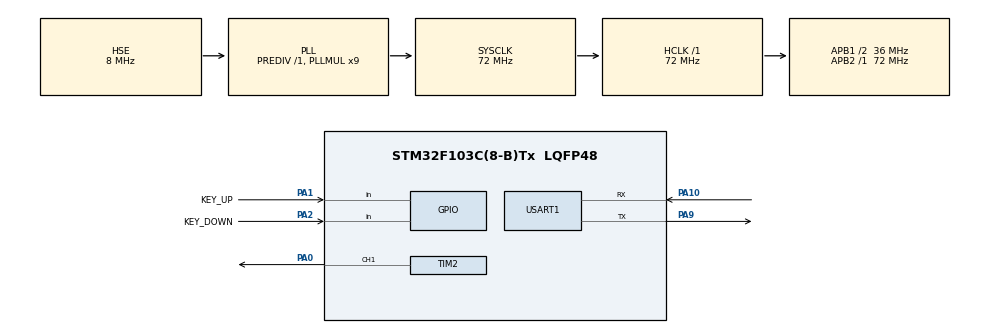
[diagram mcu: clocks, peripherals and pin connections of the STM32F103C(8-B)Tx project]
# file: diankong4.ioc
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Mcu.Family=STM32F1
Mcu.Name=STM32F103C(8-B)Tx
Mcu.Package=LQFP48
NVIC.PriorityGroup=NVIC_PRIORITYGROUP_4
PA0-WKUP.Signal=S_TIM2_CH1_ETR
PA1.GPIO_Label=KEY_UP
PA1.GPIO_PuPd=GPIO_PULLUP
PA1.Signal=GPIO_Input
PA10.Mode=Asynchronous
PA10.Signal=USART1_RX
PA13.Mode=Serial_Wire
PA13.Signal=SYS_JTMS-SWDIO
PA14.Mode=Serial_Wire
PA14.Signal=SYS_JTCK-SWCLK
PA2.GPIO_Label=KEY_DOWN
PA2.GPIO_PuPd=GPIO_PULLUP
PA2.Signal=GPIO_Input
PA9.Mode=Asynchronous
PA9.Signal=USART1_TX
PD0-OSC_IN.Mode=HSE-External-Oscillator
PD0-OSC_IN.Signal=RCC_OSC_IN
PD1-OSC_OUT.Mode=HSE-External-Oscillator
PD1-OSC_OUT.Signal=RCC_OSC_OUT
ProjectManager.HeapSize=0x200
ProjectManager.StackSize=0x400
ProjectManager.TargetToolchain=CMake
RCC.AHBFreq_Value=72000000
RCC.APB1CLKDivider=RCC_HCLK_DIV2
RCC.APB1Freq_Value=36000000
RCC.APB1TimFreq_Value=72000000
RCC.APB2Freq_Value=72000000
RCC.APB2TimFreq_Value=72000000
RCC.HCLKFreq_Value=72000000
RCC.PLLMUL=RCC_PLL_MUL9
RCC.PLLSourceVirtual=RCC_PLLSOURCE_HSE
RCC.SYSCLKFreq_VALUE=72000000
RCC.SYSCLKSource=RCC_SYSCLKSOURCE_PLLCLK
RCC.USBFreq_Value=72000000
SH.S_TIM2_CH1_ETR.0=TIM2_CH1,PWM Generation1 CH1
TIM2.AutoReloadPreload=TIM_AUTORELOAD_PRELOAD_ENABLE
TIM2.Channel-PWM\ Generation1\ CH1=TIM_CHANNEL_1
TIM2.Period=19999
TIM2.Prescaler=71
USART1.VirtualMode=VM_ASYNC
VP_TIM2_VS_ClockSourceINT.Mode=Internal
board=custom

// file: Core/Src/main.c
/* USER CODE BEGIN Header */
/**
  ******************************************************************************
  * @file           : main.c
  * @brief          : Main program body
  ******************************************************************************
  * @attention
  *
  * Copyright (c) 2026 STMicroelectronics.
  * All rights reserved.
  *
  * This software is licensed under terms that can be found in the LICENSE file
  * in the root directory of this software component.
  * If no LICENSE file comes with this software, it is provided AS-IS.
  *
  ******************************************************************************
  */
/* USER CODE END Header */
#include "main.h"

/* USER CODE BEGIN Includes */
#include <stdio.h>
#include "OLED.h"
#include "Servo.h"
#include "Key.h"
/* USER CODE END Includes */

TIM_HandleTypeDef htim2;

UART_HandleTypeDef huart1;

void SystemClock_Config(void);
static void MX_GPIO_Init(void);
static void MX_TIM2_Init(void);
static void MX_USART1_UART_Init(void);

/* USER CODE BEGIN 0 */

/* 作业要求的 5 个定角：0 -> 45 -> 90 -> 135 -> 180 */
static const float SERVO_SEQ[5] = {0.0f, 45.0f, 90.0f, 135.0f, 180.0f};

/**
  * @brief  printf 重定向到 USART1（GCC / newlib 版本）
  *
  * CLion + arm-none-eabi-gcc 用的是 newlib，printf 最终会调用 _write()。
  * CubeMX 在 Core/Src/syscalls.c 里放了一个 __attribute__((weak)) 的 _write，
  * 我们在这里重新定义同名函数，链接器会优先用这个"强符号"，
  * 于是 printf 的内容就顺着 USART1 发出去了。
  *
  * 注意：Keil MDK 那边写的是 fputc / __io_putchar，跟 GCC 不是一回事，照抄会报错。
  */
int _write(int fd, char *ptr, int len)
{
  (void)fd;
  HAL_UART_Transmit(&huart1, (uint8_t *)ptr, (uint16_t)len, 100);
  return len;
}

/* 一次刷新：舵机 + OLED 三行 + 串口。原来 while 里那一大坨，搬到这里 */
static void Servo_Show(float angle)
{
  uint16_t ccr = AngleToCCR(angle);

  Servo_SetAngle(angle);           /* 1. 让舵机动起来 */

  /* 2. OLED 三行：Target / CCR / Pulse */
  OLED_ShowString(1, 1, "Target:");
  OLED_ShowNum(1, 9, (uint32_t)angle, 3);
  OLED_ShowString(1, 12, "deg");

  OLED_ShowString(2, 1, "CCR   :");
  OLED_ShowNum(2, 9, ccr, 4);

  OLED_ShowString(3, 1, "Pulse :");
  OLED_ShowNum(3, 9, ccr / 1000, 1);
  OLED_ShowString(3, 10, ".");
  OLED_ShowNum(3, 11, ccr % 1000, 3);
  OLED_ShowString(3, 14, "ms");

  /* 3. 串口打印同样内容（不用 %f，省十几 KB） */
  printf("Target=%3d  CCR=%4d  Pulse=%d.%03dms\r\n",
         (int)angle, ccr, ccr / 1000, ccr % 1000);
}
/* USER CODE END 0 */

int main(void)
{

  /* MCU Configuration--------------------------------------------------------*/

  /* Reset of all peripherals, Initializes the Flash interface and the Systick. */
  HAL_Init();

  /* Configure the system clock */
  SystemClock_Config();

  /* Initialize all configured peripherals */
  MX_GPIO_Init();
  MX_TIM2_Init();
  MX_USART1_UART_Init();
  /* USER CODE BEGIN 2 */

  /*
   * 上电顺序很关键：
   * 先算好 CCR 再开 PWM，这样定时器一开始输出的就是 0 度对应的 550us，
   * 不会出现"上电瞬间 CCR=0，舵机先往一头撞"的情况。
   */
  Servo_SetAngle(SERVO_SEQ[0]);
  HAL_TIM_PWM_Start(&htim2, TIM_CHANNEL_1);

  OLED_Init();      /* 内部会初始化 PB8(SCL)/PB9(SDA) 两根线 */
  OLED_Clear();

  float    target    = SERVO_SEQ[0];  /* 当前目标角度 */
  uint8_t  idx       = 0;             /* 序列走到第几个 */
  uint32_t last_tick = HAL_GetTick(); /* 上一次刷新（或按键）的时刻 */
  uint8_t  auto_left = 6;             /* 上电先自动演示一轮，走完就全交给按键 */

  Servo_Show(target);                 /* 先把第一帧画出来 */

  /* USER CODE END 2 */

  /* Infinite loop */
  while (1)
  {

    /* USER CODE BEGIN 3 */

    int8_t key = Key_Scan();                 /* 1. 先看按键，最多卡 20ms */

    if (key != 0)                            /* 2. 有按键：改角度，限幅 0~180 */
    {
      auto_left = 0;                         /* 按键一介入，自动序列立刻永久退出 */
      target += (float)key * 15.0f;

      if (target < 0.0f)   { target = 0.0f;   }
      if (target > 180.0f) { target = 180.0f; }

      last_tick = HAL_GetTick();
    }
    else if (auto_left > 0 && HAL_GetTick() - last_tick >= 1000)  /* 3. 没按键：走演示序列 */
    {
      last_tick = HAL_GetTick();
      target = SERVO_SEQ[idx];
      idx = (idx + 1) % 5;
      auto_left--;                           /* 走掉的格数，走满 6 格就停手 */
    }
    else
    {
      continue;                              /* 4. 都不是：这一圈直接跳过 */
    }

    Servo_Show(target);                      /* 5. 角度变了才刷新 OLED + 串口 */
  }
  /* USER CODE END 3 */
}

void SystemClock_Config(void)
{
  RCC_OscInitTypeDef RCC_OscInitStruct = {0};
  RCC_ClkInitTypeDef RCC_ClkInitStruct = {0};

  /** Initializes the RCC Oscillators according to the specified parameters
  * in the RCC_OscInitTypeDef structure.
  */
  RCC_OscInitStruct.OscillatorType = RCC_OSCILLATORTYPE_HSE;
  RCC_OscInitStruct.HSEState = RCC_HSE_ON;
  RCC_OscInitStruct.HSEPredivValue = RCC_HSE_PREDIV_DIV1;
  RCC_OscInitStruct.HSIState = RCC_HSI_ON;
  RCC_OscInitStruct.PLL.PLLState = RCC_PLL_ON;
  RCC_OscInitStruct.PLL.PLLSource = RCC_PLLSOURCE_HSE;
  RCC_OscInitStruct.PLL.PLLMUL = RCC_PLL_MUL9;
  if (HAL_RCC_OscConfig(&RCC_OscInitStruct) != HAL_OK)
  {
    Error_Handler();
  }

  /** Initializes the CPU, AHB and APB buses clocks
  */
  RCC_ClkInitStruct.ClockType = RCC_CLOCKTYPE_HCLK|RCC_CLOCKTYPE_SYSCLK
                              |RCC_CLOCKTYPE_PCLK1|RCC_CLOCKTYPE_PCLK2;
  RCC_ClkInitStruct.SYSCLKSource = RCC_SYSCLKSOURCE_PLLCLK;
  RCC_ClkInitStruct.AHBCLKDivider = RCC_SYSCLK_DIV1;
  RCC_ClkInitStruct.APB1CLKDivider = RCC_HCLK_DIV2;
  RCC_ClkInitStruct.APB2CLKDivider = RCC_HCLK_DIV1;

  if (HAL_RCC_ClockConfig(&RCC_ClkInitStruct, FLASH_LATENCY_2) != HAL_OK)
  {
    Error_Handler();
  }
}

static void MX_TIM2_Init(void)
{

  TIM_ClockConfigTypeDef sClockSourceConfig = {0};
  TIM_MasterConfigTypeDef sMasterConfig = {0};
  TIM_OC_InitTypeDef sConfigOC = {0};

  htim2.Instance = TIM2;
  htim2.Init.Prescaler = 71;
  htim2.Init.CounterMode = TIM_COUNTERMODE_UP;
  htim2.Init.Period = 19999;
  htim2.Init.ClockDivision = TIM_CLOCKDIVISION_DIV1;
  htim2.Init.AutoReloadPreload = TIM_AUTORELOAD_PRELOAD_ENABLE;
  if (HAL_TIM_Base_Init(&htim2) != HAL_OK)
  {
    Error_Handler();
  }
  sClockSourceConfig.ClockSource = TIM_CLOCKSOURCE_INTERNAL;
  if (HAL_TIM_ConfigClockSource(&htim2, &sClockSourceConfig) != HAL_OK)
  {
    Error_Handler();
  }
  if (HAL_TIM_PWM_Init(&htim2) != HAL_OK)
  {
    Error_Handler();
  }
  sMasterConfig.MasterOutputTrigger = TIM_TRGO_RESET;
  sMasterConfig.MasterSlaveMode = TIM_MASTERSLAVEMODE_DISABLE;
  if (HAL_TIMEx_MasterConfigSynchronization(&htim2, &sMasterConfig) != HAL_OK)
  {
    Error_Handler();
  }
  sConfigOC.OCMode = TIM_OCMODE_PWM1;
  sConfigOC.Pulse = 0;
  sConfigOC.OCPolarity = TIM_OCPOLARITY_HIGH;
  sConfigOC.OCFastMode = TIM_OCFAST_DISABLE;
  if (HAL_TIM_PWM_ConfigChannel(&htim2, &sConfigOC, TIM_CHANNEL_1) != HAL_OK)
  {
    Error_Handler();
  }
  HAL_TIM_MspPostInit(&htim2);

}

static void MX_USART1_UART_Init(void)
{

  huart1.Instance = USART1;
  huart1.Init.BaudRate = 115200;
  huart1.Init.WordLength = UART_WORDLENGTH_8B;
  huart1.Init.StopBits = UART_STOPBITS_1;
  huart1.Init.Parity = UART_PARITY_NONE;
  huart1.Init.Mode = UART_MODE_TX_RX;
  huart1.Init.HwFlowCtl = UART_HWCONTROL_NONE;
  huart1.Init.OverSampling = UART_OVERSAMPLING_16;
  if (HAL_UART_Init(&huart1) != HAL_OK)
  {
    Error_Handler();
  }

}

static void MX_GPIO_Init(void)
{
  GPIO_InitTypeDef GPIO_InitStruct = {0};

  /* GPIO Ports Clock Enable */
  __HAL_RCC_GPIOD_CLK_ENABLE();
  __HAL_RCC_GPIOA_CLK_ENABLE();

  /*Configure GPIO pins : KEY_UP_Pin KEY_DOWN_Pin */
  GPIO_InitStruct.Pin = KEY_UP_Pin|KEY_DOWN_Pin;
  GPIO_InitStruct.Mode = GPIO_MODE_INPUT;
  GPIO_InitStruct.Pull = GPIO_PULLUP;
  HAL_GPIO_Init(GPIOA, &GPIO_InitStruct);

}

void Error_Handler(void)
{
  __disable_irq();
  while (1)
  {
  }
}
